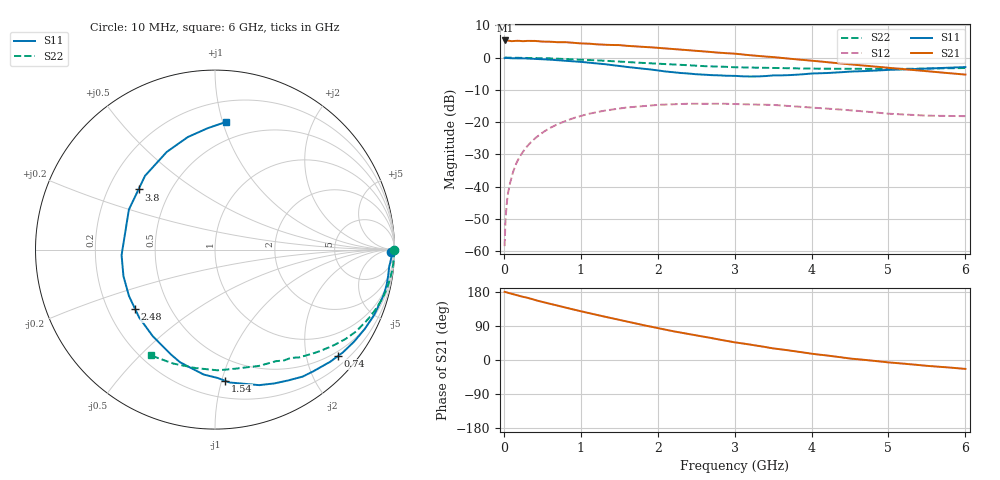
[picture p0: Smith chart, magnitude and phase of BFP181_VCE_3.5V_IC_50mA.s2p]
! Infineon Technologies  Discrete & RF Semiconductors
! BFP181
! VCE = 3.5 V,  IC =  50 mA
! Common Emitter S-Parameters:  Jan 2016
# GHz  S  MA  R  50
!  f  S11  S21  S12  S22
! GHz  MAG  ANG  MAG  ANG  MAG  ANG  MAG  ANG
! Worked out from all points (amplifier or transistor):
!   210 points, 10 MHz to 6 GHz, reference 50 ohm
!   highest |S21| = 5.3 dB at 20 MHz (marker M1)
!   |S21| within 3 dB of that: start of sweep to 2.38 GHz
!   unconditionally stable (mu >= 1): 3.691 GHz to end of sweep
!   at 185 MHz: K = 0.06, MSG = 18.4 dB, |S12| = -31.7 dB
!   at 1.52 GHz: K = 0.45, MSG = 9.8 dB, |S12| = -15.7 dB
!   at 6 GHz: K = 1.45, MAG = 2.4 dB, |S12| = -18.1 dB
!   S11 on the Smith chart (normalised r, x): 10 MHz: 72, -43; 740 MHz: 0.40, -2.63; 1.54 GHz: 0.32, -1.02; 2.48 GHz: 0.32, -0.30; 3.8 GHz: 0.33, +0.31; 6 GHz: 0.35, +1.02
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0.01  0.9798 -0.7  1.816 179.8  0.0012 93.0  0.9999 -0.2
0.02  0.9903 -1.2  1.842 179.5  0.0027 86.1  0.9995 -0.5
0.04  0.986 -2.1  1.84 178.1  0.0058 89.1  0.9987 -1.1
0.075  0.9792 -4.0  1.817 176.1  0.0106 86.9  0.9979 -2.0
0.135  0.9755 -7.5  1.813 173.0  0.0191 84.0  0.9972 -3.6
0.2  0.976 -11.1  1.816 169.3  0.0282 82.0  0.9951 -5.4
0.3  0.9687 -16.8  1.813 164.6  0.0419 78.4  0.9911 -8.1
0.42  0.9549 -23.4  1.803 157.5  0.0579 73.2  0.9855 -11.2
0.74  0.9059 -40.9  1.73 141.1  0.0973 61.0  0.9587 -19.4
1.02  0.8543 -56.4  1.656 127.7  0.1266 50.9  0.9285 -26.0
1.3  0.7945 -71.9  1.584 114.8  0.1499 41.3  0.8948 -32.3
1.54  0.7326 -85.7  1.545 103.9  0.1649 34.1  0.8623 -37.0
2.02  0.628 -114.1  1.409 83.4  0.1857 21.1  0.8035 -45.4
2.48  0.5546 -143.4  1.277 65.8  0.1926 10.0  0.7514 -53.2
2.8  0.5312 -163.8  1.19 53.9  0.194 3.2  0.7272 -58.1
3.1  0.5127 177.8  1.118 43.8  0.1894 -2.4  0.7045 -62.8
3.5  0.529 155.1  1.018 30.7  0.185 -8.9  0.693 -69.2
3.8  0.5423 141.8  0.94 22.7  0.1751 -12.5  0.68 -74.7
4.1  0.5703 129.9  0.873 14.3  0.1657 -15.9  0.6729 -80.5
4.5  0.607 116.3  0.787 3.9  0.153 -19.7  0.6728 -88.7
5.1  0.6498 101.5  0.679 -7.9  0.1333 -19.0  0.6684 -101.5
6  0.7133 85.2  0.545 -23.5  0.1238 -11.8  0.6894 -121.3
